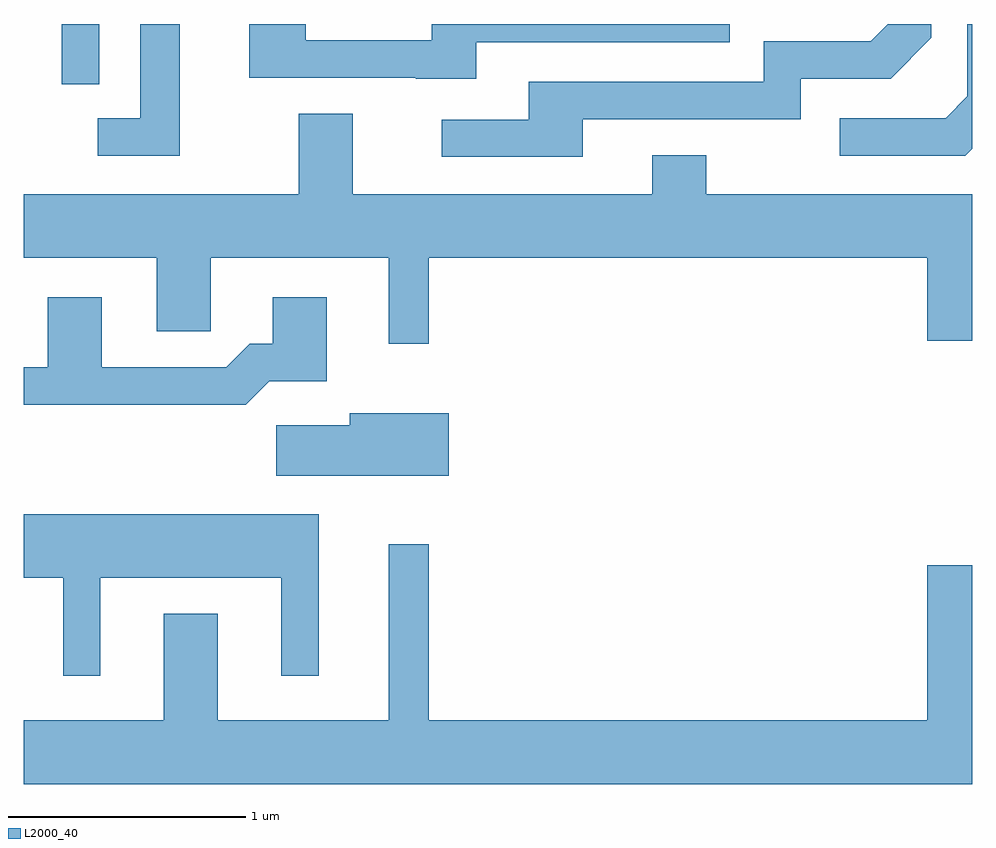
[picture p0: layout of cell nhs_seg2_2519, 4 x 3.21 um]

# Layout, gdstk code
import gdstk
lib = gdstk.Library(unit=1e-6, precision=1e-09)
def R(c, l, rs):  # rectangles x0, y0, x1, y1
    for r in rs: c.add(gdstk.rectangle(r[:2], r[2:], *l))
def P(c, l, *ps):  # polygons
    for p in ps: c.add(gdstk.Polygon(p, *l))
L2000_40 = (2000, 40)

nhs_seg2_2519 = lib.new_cell('nhs_seg2_2519')
R(nhs_seg2_2519, L2000_40, [(259.771,993.548,259.929,993.802)])
P(nhs_seg2_2519, L2000_40, [(263.611,993.275),(263.611,993.802),(263.591,993.802),(263.591,993.497),(263.499,993.404),(263.053,993.404),(263.053,993.246),(263.582,993.246)],
  [(260.269,993.802),(260.101,993.802),(260.101,993.404),(259.923,993.404),(259.923,993.246),(260.269,993.246)],
  [(261.969,993.401),(262.889,993.401),(262.889,993.571),(263.267,993.571),(263.439,993.744),(263.439,993.802),(263.256,993.802),(263.184,993.729),(262.731,993.729),(262.731,993.559),(261.741,993.559),(261.741,993.399),(261.373,993.399),(261.373,993.241),(261.969,993.241)],
  [(261.519,993.726),(262.588,993.726),(262.588,993.802),(261.331,993.802),(261.331,993.734),(260.799,993.734),(260.799,993.802),(260.561,993.802),(260.561,993.576),(261.265,993.576),(261.265,993.571),(261.519,993.571)],
  [(261.319,992.816),(263.421,992.816),(263.421,992.466),(263.611,992.466),(263.611,993.084),(262.489,993.084),(262.489,993.249),(262.261,993.249),(262.261,993.084),(260.999,993.084),(260.999,993.424),(260.771,993.424),(260.771,993.084),(259.611,993.084),(259.611,992.816),(260.171,992.816),(260.171,992.506),(260.399,992.506),(260.399,992.816),(261.151,992.816),(261.151,992.453),(261.319,992.453)],
  [(260.647,992.296),(260.889,992.296),(260.889,992.649),(260.661,992.649),(260.661,992.454),(260.564,992.454),(260.464,992.354),(259.939,992.354),(259.939,992.649),(259.711,992.649),(259.711,992.354),(259.611,992.354),(259.611,992.196),(260.546,992.196)],
  [(261.404,992.159),(260.986,992.159),(260.986,992.109),(260.676,992.109),(260.676,991.896),(261.404,991.896)],
  [(259.934,991.466),(260.696,991.466),(260.696,991.053),(260.854,991.053),(260.854,991.734),(259.611,991.734),(259.611,991.466),(259.776,991.466),(259.776,991.053),(259.934,991.053)],
  [(263.611,991.519),(263.421,991.519),(263.421,990.864),(261.319,990.864),(261.319,991.608),(261.151,991.608),(261.151,990.864),(260.429,990.864),(260.429,991.314),(260.201,991.314),(260.201,990.864),(259.611,990.864),(259.611,990.596),(263.611,990.596)])

lib.write_gds('nhs_seg2_2519.gds')
